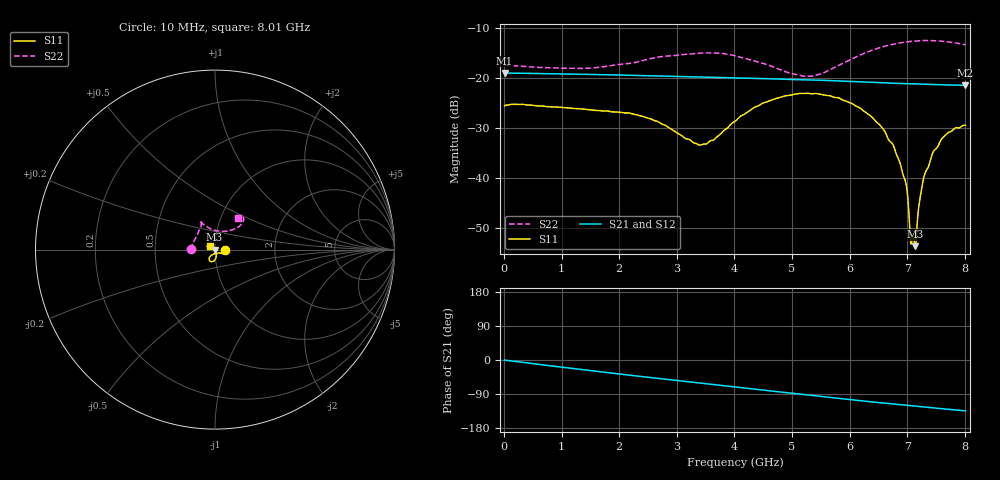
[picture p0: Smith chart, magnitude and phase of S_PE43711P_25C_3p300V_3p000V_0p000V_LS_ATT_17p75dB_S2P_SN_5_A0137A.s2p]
! Device ID: PE43711P
! File Path: z:\PE43711P\CHAR_NOM_04282014\AMB\3p300\LS_ATT_17p75dB\PE43711P_AMB_3p300V_3p000V_0p000V_LS_ATT_17p75dB_S2P_SN_5_A0137A.s2p
! Serial: 5
! Lot: A0137A
! Temp: 25C
! VDD: 3.300
! VSS: 0.000
! Control_Hi: 3.000
! Control_Lo: 0.000
! Attenuation Step: 17.75dB
! Port 1: RF1
! Port 2: RF2
! ThroughPath:1-2
! IDD: 0.0001273596
! ISS: -1.495e-007
#  Hz  S  RI  R  50
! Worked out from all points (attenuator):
!   801 points, 10 MHz to 8.01 GHz, reference 50 ohm
!   highest |S21| = -18.93 dB at 10 MHz (marker M1); lowest = -21.4 dB at 8.01 GHz (marker M2)
!   lowest |S11| = -53.6 dB at 7.14 GHz (marker M3), VSWR 1.00, Z = 49.8 - j0.0152 ohm
!   |S11| at or under -10 dB: start of sweep to end of sweep
!   |S22| runs from -19.6 to -12.4 dB; largest |S21 - S12| = 0.00028
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1e7  0.0532 0.000179  0.1131 -0.000492  0.1132 -0.000506  -0.1355 0.000968
1.35e9  0.0457 -0.0188  0.0995 -0.0468  0.0996 -0.0468  -0.1083 0.0636
2.17e9  0.0394 -0.0217  0.0824 -0.0688  0.0824 -0.0688  -0.0841 0.1129
2.68e9  0.0308 -0.0197  0.0697 -0.0791  0.0698 -0.0791  -0.0768 0.1445
3.41e9  0.00542 -0.0208  0.0497 -0.0899  0.0498 -0.0899  -0.0755 0.1623
4.01e9  -0.02 -0.0313  0.0327 -0.0957  0.0326 -0.0957  -0.0755 0.1508
4.53e9  -0.0318 -0.0478  0.0174 -0.0978  0.0174 -0.0978  -0.0491 0.1304
5.35e9  -0.0222 -0.0663  -0.00593 -0.096  -0.0059 -0.0961  0.0269 0.1018
6.17e9  0.00297 -0.0508  -0.0272 -0.0883  -0.0272 -0.0884  0.1207 0.12
6.54e9  0.00776 -0.0324  -0.0351 -0.0833  -0.0352 -0.0835  0.1478 0.1423
6.68e9  0.00661 -0.0232  -0.0378 -0.0814  -0.0377 -0.0815  0.1533 0.1508
6.78e9  0.00636 -0.0187  -0.0397 -0.08  -0.0396 -0.0801  0.1569 0.1566
6.94e9  0.00269 -0.00994  -0.0426 -0.0778  -0.0425 -0.0779  0.1588 0.1654
6.99e9  0.00273 -0.00762  -0.0435 -0.0771  -0.0434 -0.0772  0.1599 0.1672
7.04e9  0.00107 -0.00325  -0.0444 -0.0764  -0.0443 -0.0764  0.1601 0.1708
7.08e9  -0.00142 -0.00184  -0.0451 -0.0758  -0.0451 -0.0759  0.1595 0.1725
7.11e9  -0.00208 -0.00153  -0.0457 -0.0754  -0.0456 -0.0754  0.1593 0.1734
7.14e9  -0.00208 -0.000153  -0.0462 -0.075  -0.0462 -0.0749  0.1594 0.1749
7.27e9  -0.00612 0.00668  -0.0485 -0.0729  -0.0484 -0.073  0.1572 0.1805
7.45e9  -0.0123 0.0136  -0.0514 -0.07  -0.0514 -0.0701  0.1505 0.185
7.68e9  -0.0197 0.0193  -0.0549 -0.0663  -0.0549 -0.0663  0.1408 0.1863
8.01e9  -0.026 0.0216  -0.0594 -0.0609  -0.0596 -0.0608  0.1285 0.175
